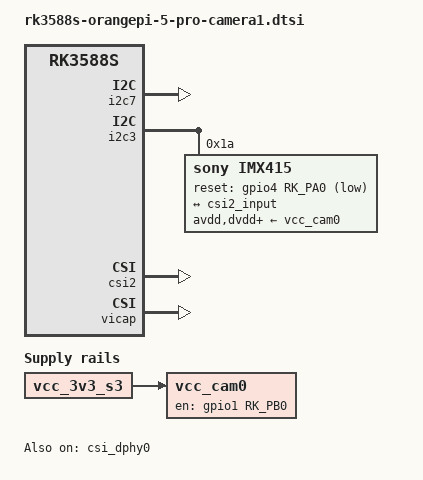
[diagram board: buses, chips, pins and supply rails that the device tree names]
// SPDX-License-Identifier: (GPL-2.0+ OR MIT)
/*
 * Copyright (c) 2021 Rockchip Electronics Co., Ltd.
 * Copyright (c) 2025 Venkata Atchuta Bheemeswara Sarma Darbha
 *
 */

#include <dt-bindings/clock/rockchip,rk3588-cru.h>
#include <dt-bindings/gpio/gpio.h>
#include <dt-bindings/pinctrl/rockchip.h>


&csi2_dphy0 {
	status = "disabled";
	ports {
		#address-cells = <1>;
		#size-cells = <0>;
		port@0 {
			reg = <0>;
			#address-cells = <1>;
			#size-cells = <0>;

			mipi_in_ucam0: endpoint@0 {
				reg = <0>;
				remote-endpoint = <&ov13850_out2>;
				data-lanes = <1 2>;
			};

			mipi_in_ucam1: endpoint@1 {
				reg = <1>;
				remote-endpoint = <&ov13855_out2>;
				data-lanes = <1 2>;
			};
		};
		port@1 {
		        reg = <1>;
		        #address-cells = <1>;
		        #size-cells = <0>;
		        csidphy0_out: endpoint@0 {
		                reg = <0>;
		                remote-endpoint = <&mipi2_csi2_input>;
		        };
		};
	};
};

&i2c7 {
	status = "okay";
	pinctrl-names = "default";
	pinctrl-0 = <&i2c7m0_xfer>;

	ov13855_1: ov13855-1@36 {
		compatible = "ovti,ov13855";
		status = "disabled";
		reg = <0x36>;
		clocks = <&cru CLK_MIPI_CAMARAOUT_M3>;
		clock-names = "xvclk";
		pinctrl-names = "default";
		pinctrl-0 = <&mipim1_camera3_clk>;
		reset-gpios = <&gpio3 RK_PC4 GPIO_ACTIVE_HIGH>;
		pwdn-gpios = <&gpio3 RK_PC6 GPIO_ACTIVE_HIGH>;
		rockchip,camera-module-index = <0>;
		rockchip,camera-module-facing = "back";
		rockchip,camera-module-name = "CMK-OT2016-FV1";
		rockchip,camera-module-lens-name = "default";
		lens-focus = <&dw9714_p1>;
		port {
			ov13855_out2: endpoint {
				remote-endpoint = <&csi2_input>;
				data-lanes = <1 2>;
			};
		};
	};
};

&mipi2_csi2 {
	status = "disabled";
	ports {
		#address-cells = <1>;
		#size-cells = <0>;
		port@0 {
			reg = <0>;
			#address-cells = <1>;
			#size-cells = <0>;
			mipi2_csi2_input: endpoint@1 {
				reg = <1>;
				remote-endpoint = <&csidphy0_out>;
			};
		};
		port@1 {
			reg = <1>;
			#address-cells = <1>;
			#size-cells = <0>;
			mipi2_csi2_output: endpoint@0 {
				reg = <0>;
				remote-endpoint = <&cif_mipi_in2>;
			};
		};
	};
};

&rkcif_mipi_lvds2 {
	status = "disabled";
	port {
		cif_mipi_in2: endpoint {
			remote-endpoint = <&mipi2_csi2_output>;
		};
	};
};

&rkcif_mipi_lvds2_sditf {
	status = "disabled";
	port {
		mipi2_lvds_sditf: endpoint {
			remote-endpoint = <&isp0_vir1>;
		};
	};
};

&rkisp0_vir1 {
	status = "disabled";
	port {
		#address-cells = <1>;
		#size-cells = <0>;
		isp0_vir1: endpoint@0 {
			reg = <0>;
			remote-endpoint = <&mipi2_lvds_sditf>;
		};
	};
};

// TODO- BSP to mainline conversion
&{/} {
	vcc_cam0: vcc-cam0-regulator {
		compatible = "regulator-fixed";
		enable-active-high;
		gpio = <&gpio1 RK_PB0 GPIO_ACTIVE_HIGH>;
		pinctrl-names = "default";
		pinctrl-0 = <&cam0_power0_en>;
		regulator-name = "vcc_cam0";
		vin-supply = <&vcc_3v3_s3>;
	};
};



&i2c3 {
	#address-cells = <1>;
	#size-cells = <0>;
	status = "okay";

    ov13855_1: ov13855-1@36 {
		compatible = "ovti,ov13855";
		status = "disabled";
		reg = <0x36>;
		clocks = <&cru CLK_MIPI_CAMARAOUT_M3>;
		clock-names = "xvclk";
		pinctrl-names = "default";
		pinctrl-0 = <&mipim1_camera3_clk>;
		reset-gpios = <&gpio3 RK_PC4 GPIO_ACTIVE_HIGH>;
		pwdn-gpios = <&gpio3 RK_PC6 GPIO_ACTIVE_HIGH>;
		rockchip,camera-module-index = <0>;
		rockchip,camera-module-facing = "back";
		rockchip,camera-module-name = "CMK-OT2016-FV1";
		rockchip,camera-module-lens-name = "default";
		lens-focus = <&dw9714_p1>;
		port {
			ov13855_out2: endpoint {
				remote-endpoint = <&csi2_input>;
				data-lanes = <1 2>;
			};
		};
	};

	imx415: camera-sensor@1a {
		compatible = "sony,imx415";
		reg = <0x1a>;
		assigned-clocks = <&cru CLK_MIPI_CAMARAOUT_M3>;
		assigned-clock-rates = <27000000>;
		avdd-supply = <&vcc_cam0>;
		clocks = <&cru CLK_MIPI_CAMARAOUT_M3>;
		clock-names = "inck";
		dvdd-supply = <&vcc_cam0>;
		orientation = <2>; /* External */
		ovdd-supply = <&vcc_cam0>;
		pinctrl-names = "default";
		pinctrl-0 = <&cam0_rstn &mipim0_camera3_clk>;
		reset-gpios = <&gpio4 RK_PA0 GPIO_ACTIVE_LOW>;

		port {
			imx415_ep: endpoint {
				data-lanes = <1 2 3 4>;
				link-frequencies = /bits/ 64 <445500000>;
				remote-endpoint = <&csi2_input>;
			};
		};
	};
};

&pinctrl {
	cam0 {
		cam0_power0_en: cam0-power0-en-pinctrl {
			rockchip,pins = <1 RK_PB0 RK_FUNC_GPIO &pcfg_pull_none>;
		};

		cam0_rstn: cam0-rstn-pinctrl {
			rockchip,pins = <4 RK_PA0 RK_FUNC_GPIO &pcfg_pull_none>;
		};
	};
};

&csi2 {
	status = "okay";
};

&csi2_in {
	csi2_input: endpoint {
		data-lanes = <1 2 3 4>;
		link-frequencies = /bits/ 64 <445500000>;
		remote-endpoint = <&ov13855_out2>;
	};
};

&csi_dphy0 {
	status = "okay";
};

&vicap {
	status = "okay";
};

&vicap_mmu0 {
	status = "okay";
};

&vicap_mmu1 {
	status = "okay";
};
